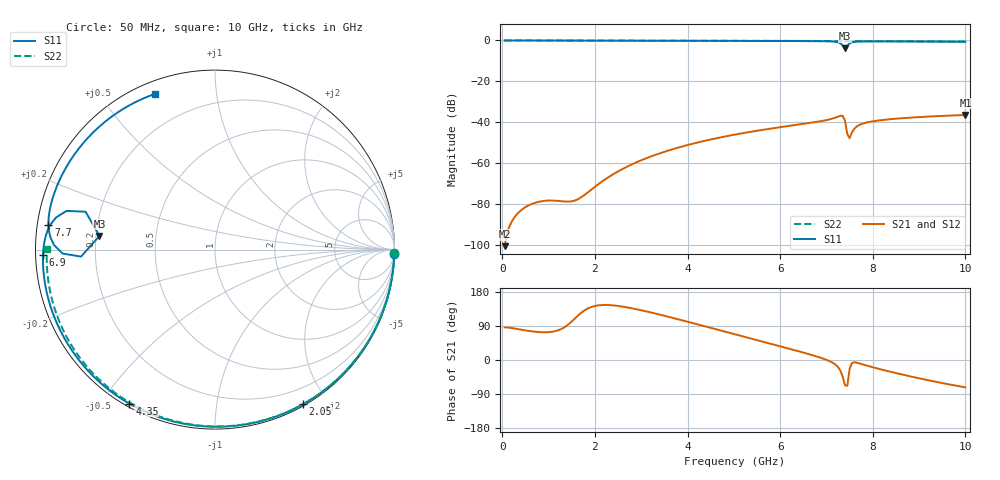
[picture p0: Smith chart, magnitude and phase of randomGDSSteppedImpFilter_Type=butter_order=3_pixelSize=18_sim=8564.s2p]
! freq	dB(S11)	phase(S11)	dB(S12)	phase(S12)
!  dB(S21)	phase(S21)	dB(S22)	phase(S22)
!S-par simulation data
#  GHz  S  DB  R 50
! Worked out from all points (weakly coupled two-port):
!   200 points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, 50 MHz to 10 GHz, reference 50 ohm
!   highest |S21| = -36.49 dB at 10 GHz (marker M1); lowest = -100.7 dB at 50 MHz (marker M2)
!   lowest |S11| = -3.8 dB at 7.4 GHz (marker M3), VSWR 4.69, Z = 10.7 + j2.8 ohm
!   |S11| at or under -10 dB: nowhere
!   |S22| runs from -0.6 to 0.0 dB; largest |S21 - S12| = 0
!   S11 on the Smith chart (normalised r, x): 50 MHz: 1, -77; 2.05 GHz: 0.02, -1.72; 4.35 GHz: 0.01, -0.59; 6.9 GHz: 0.02, -0.01; 7.7 GHz: 0.03, +0.07; 10 GHz: 0.05, +0.69
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0.05  -0.00 -1.5  -100.73 85.9  -100.73 85.9  -0.00 -1.0
0.7  -0.03 -21.2  -79.53 74.7  -79.53 74.7  -0.02 -14.7
1.45  -0.05 -43.4  -78.89 96.2  -78.89 96.2  -0.04 -30.2
1.75  -0.07 -52.0  -76.08 128.8  -76.08 128.8  -0.05 -36.3
2.05  -0.08 -60.4  -70.81 143.7  -70.81 143.7  -0.05 -42.3
2.65  -0.10 -76.7  -62.31 139.8  -62.31 139.8  -0.07 -54.2
3.4  -0.12 -96.0  -55.28 119.8  -55.28 119.8  -0.09 -68.5
4.35  -0.16 -119.0  -49.25 89.8  -49.25 89.8  -0.12 -85.9
5.05  -0.19 -135.2  -45.98 67.1  -45.98 67.1  -0.15 -98.2
5.9  -0.25 -154.4  -42.81 39.4  -42.81 39.4  -0.19 -112.6
6.7  -0.32 -173.1  -40.19 12.6  -40.19 12.6  -0.24 -125.9
6.9  -0.37 -178.3  -39.44 4.9  -39.44 4.9  -0.26 -129.1
7.15  -0.55 173.5  -38.13 -8.4  -38.13 -8.4  -0.27 -133.2
7.3  -1.36 165.4  -36.87 -28.0  -36.87 -28.0  -0.28 -135.7
7.35  -2.49 163.7  -36.90 -44.0  -36.90 -44.0  -0.29 -136.5
7.4  -3.76 173.3  -39.27 -66.8  -39.27 -66.8  -0.30 -137.3
7.45  -2.53 -177.0  -45.86 -68.2  -45.86 -68.2  -0.30 -138.1
7.5  -1.42 -178.5  -47.86 -23.8  -47.86 -23.8  -0.30 -138.9
7.6  -0.73 175.7  -43.26 -6.0  -43.26 -6.0  -0.31 -140.5
7.7  -0.55 171.5  -41.49 -8.6  -41.49 -8.6  -0.32 -142.1
8.35  -0.46 153.4  -38.61 -30.1  -38.61 -30.1  -0.38 -152.7
10  -0.63 111.1  -36.49 -72.2  -36.49 -72.2  -0.57 179.6
